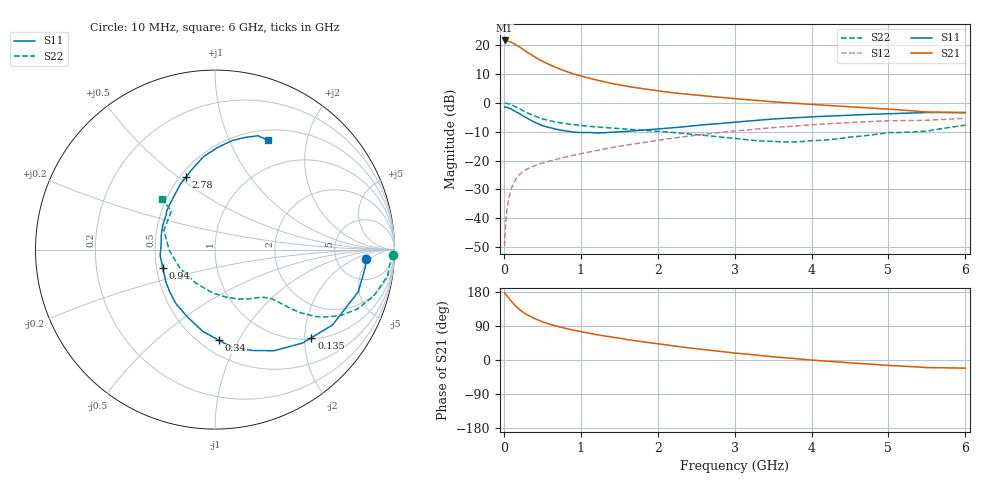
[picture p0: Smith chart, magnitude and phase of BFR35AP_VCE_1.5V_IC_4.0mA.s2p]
! Infineon Technologies  Discrete & RF Semiconductors
! BFR35AP
! VCE =  1.5 V,  IC =  4.0 mA
! Common Emitter S-Parameters:  Nov 2015
# GHz  S  MA  R  50
!  f  S11  S21  S12  S22
! GHz  MAG  ANG  MAG  ANG  MAG  ANG  MAG  ANG
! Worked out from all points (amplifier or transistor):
!   210 points, 10 MHz to 6 GHz, reference 50 ohm
!   highest |S21| = 21.6 dB at 10 MHz (marker M1)
!   |S21| within 3 dB of that: start of sweep to 245.2 MHz
!   unconditionally stable (mu >= 1): 829.1 MHz to 4.48 GHz; 4.564 GHz to 4.886 GHz; 5.039 GHz to end of sweep
!   at 185 MHz: K = 0.34, MSG = 22.5 dB, |S12| = -25.4 dB
!   at 1.52 GHz: K = 1.16, MAG = 8.1 dB, |S12| = -15.0 dB
!   at 6 GHz: K = 1.01, MAG = 0.3 dB, |S12| = -5.4 dB
!   S11 on the Smith chart (normalised r, x): 10 MHz: 10, -4; 135 MHz: 1.03, -2.16; 340 MHz: 0.61, -0.83; 940 MHz: 0.54, -0.12; 2.78 GHz: 0.54, +0.53; 6 GHz: 0.62, +1.40
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0.01  0.8422 -3.7  11.97 177.5  0.0033 88.2  0.9917 -1.7
0.04  0.8334 -13.1  11.72 169.4  0.0138 83.1  0.9739 -7.0
0.1  0.7775 -32.7  11.18 154.5  0.0334 72.8  0.9211 -16.4
0.135  0.7278 -42.4  10.43 146.7  0.0424 67.4  0.8756 -20.8
0.15  0.7135 -46.9  10.17 143.0  0.0464 65.7  0.8578 -22.8
0.2  0.6525 -59.7  9.317 133.7  0.0566 61.1  0.7918 -27.6
0.26  0.582 -73.2  8.22 124.4  0.066 56.7  0.7142 -31.7
0.3  0.5445 -81.3  7.529 119.3  0.0712 54.9  0.6716 -33.7
0.34  0.5058 -87.5  6.985 115.7  0.0754 53.5  0.6392 -34.7
0.4  0.4609 -98.5  6.231 109.3  0.0817 51.6  0.5911 -36.5
0.5  0.4031 -113.1  5.226 100.7  0.0904 50.7  0.5286 -38.0
0.6  0.371 -126.1  4.519 94.1  0.0985 50.5  0.4865 -38.9
0.76  0.3332 -142.8  3.692 85.6  0.1115 50.6  0.4448 -40.0
0.94  0.308 -160.2  3.061 77.3  0.1265 50.9  0.4133 -41.3
1.02  0.305 -167.3  2.856 74.1  0.133 51.2  0.4023 -42.1
1.4  0.3095 165.7  2.159 60.6  0.167 51.5  0.3655 -47.0
2.02  0.3537 136.4  1.598 42.3  0.2268 48.7  0.3192 -59.1
2.78  0.4345 111.8  1.254 23.5  0.3035 42.0  0.258 -82.7
3.1  0.4726 104.5  1.149 16.6  0.3342 38.1  0.2338 -97.0
4.1  0.5786 86.7  0.919 -1.6  0.4235 25.6  0.2232 -157.4
5.1  0.6513 74.1  0.762 -15.3  0.49 11.8  0.305 155.1
6  0.6766 64.2  0.675 -21.5  0.5397 1.8  0.4096 136.1
